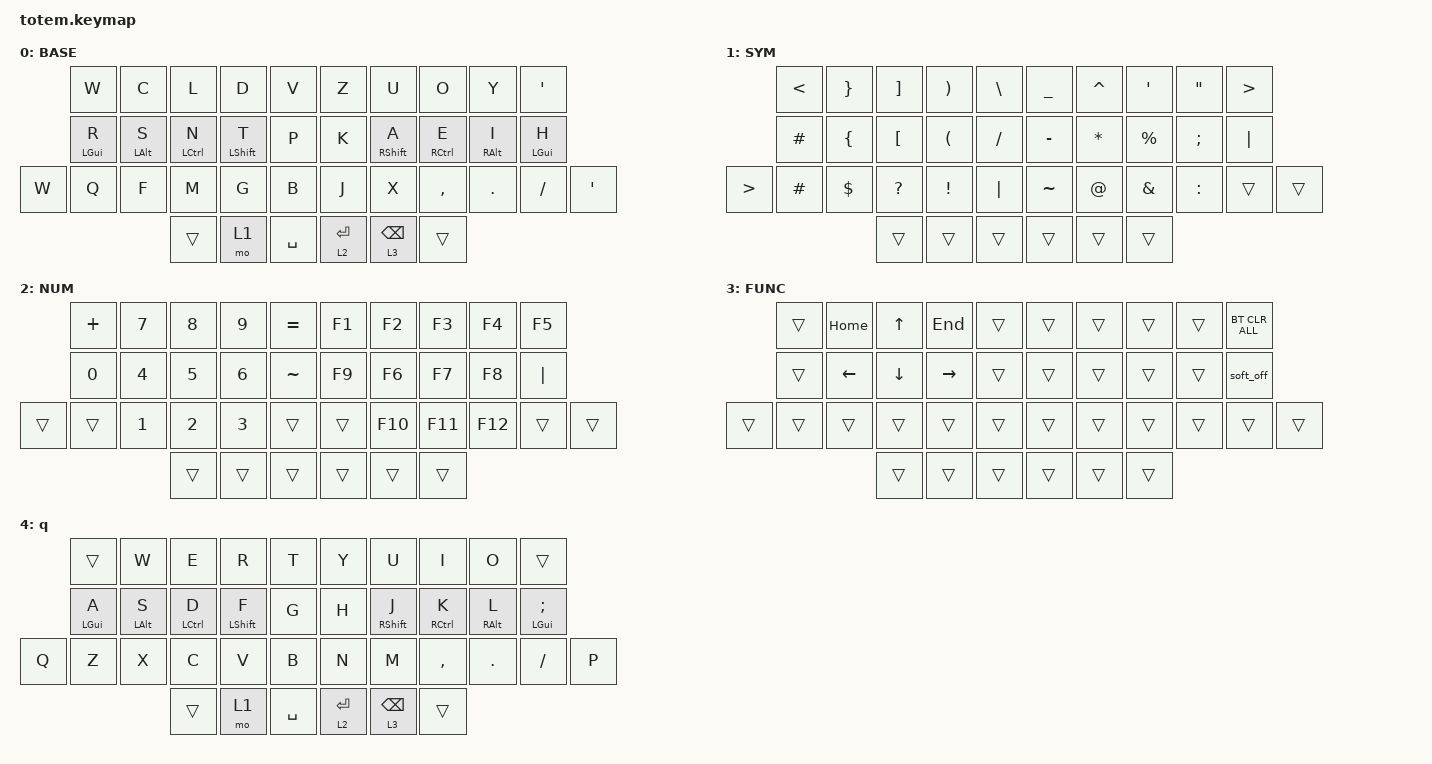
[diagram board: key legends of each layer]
//
//                                                        ▀▀▀▀▀     ▀▀▀▀▀          ▀▀█▀▀
//                                                        ▄▀▀▀▄  ▄  ▄▀▀▀▄  ▄  ▄▀▀▀▄  █  ▄▀▀▀▄
//                                                        █   █  █  █   █  █  █   █  █  █   █
//                                                         ▀▀▀   █   ▀▀▀   █   ▀▀▀   ▀   ▀▀▀
//                                                               █      ▄▄▄█▄▄▄    █   █  
//                                                               ▀      █  █  █     █▄█
//                                                             ▀▀▀▀▀    █  █  █      ▀
//                                                                      ▀  ▀  ▀
//

#include <behaviors/rgbled_widget.dtsi>
#include <behaviors.dtsi>
#include <dt-bindings/zmk/bt.h>
#include <dt-bindings/zmk/keys.h>

#define BASE 0
#define NAV  1
#define SYM  2
#define ADJ  3
#define TVP1 4
#define TVP2 5

&mt {
    quick-tap-ms = <100>;
    global-quick-tap;
    flavor = "tap-preferred";
    tapping-term-ms = <250>;
};

/ {
    combos {
        compatible = "zmk,combos";

        combo_v {
            timeout-ms = <50>;
            key-positions = <1 2>;
            bindings = <&kp V>;
        };

        combo_del {
            bindings = <&kp DELETE>;
            key-positions = <5 6>;
        };

        combo_ins {
            bindings = <&kp INS>;
            key-positions = <6 7>;
        };

        combo_bksp {
            bindings = <&kp BACKSPACE>;
            key-positions = <7 8>;
        };

        combo_pscn {
            bindings = <&kp PRINTSCREEN>;
            key-positions = <29 19>;
        };

        combo_esc {
            bindings = <&kp ESCAPE>;
            key-positions = <15 5>;
        };

        combo_unlock {
            bindings = <&studio_unlock>;
            key-positions = <0 9>;
        };

        layer_toggle {
            bindings = <&tog 4>;
            key-positions = <33 34 35 36>;
        };

        combo_q {
            bindings = <&kp Q>;
            key-positions = <2 3>;
            timeout-ms = <50>;
        };

        combo_z {
            bindings = <&kp Z>;
            key-positions = <22 23>;
            timeout-ms = <50>;
        };

        combo_tab {
            bindings = <&kp TAB>;
            key-positions = <0 1>;
            timeout-ms = <50>;
        };
    };

    macros {
        gif: gif {
            label = "giphy";
            compatible = "zmk,behavior-macro";
            #binding-cells = <0>;
            bindings =
                <&macro_press>,
                <&kp LSHFT>,
                <&macro_tap>,
                <&kp N2>,
                <&macro_release>,
                <&kp LSHFT>,
                <&macro_tap>,
                <&kp G &kp I &kp F>;
        };
    };

    keymap {
        compatible = "zmk,keymap";

        base_layer {
            label = "BASE";
            bindings = <
       &kp W           &kp C       &kp L        &kp D        &kp V        &kp Z        &kp U            &kp O        &kp Y       &kp APOSTROPHE
       &mt LEFT_GUI R  &mt LALT S  &mt LCTRL N  &mt LSHFT T  &kp P        &kp K        &mt RSHFT A      &mt RCTRL E  &mt RALT I  &mt LEFT_GUI H
&kp W  &kp Q           &kp F       &kp M        &kp G        &kp B        &kp J        &kp X            &kp COMMA    &kp PERIOD  &kp SLASH       &kp APOSTROPHE
                                   &trans       &mo 1        &kp SPACE    &lt 2 ENTER  &lt 3 BACKSPACE  &trans
            >;
        };

        sym_layer {
            bindings = <
                  &kp LESS_THAN  &kp RIGHT_BRACE  &kp RBKT      &kp RIGHT_PARENTHESIS  &kp BSLH     &kp UNDERSCORE  &kp CARET     &kp SQT        &kp DOUBLE_QUOTES  &kp GREATER_THAN
                  &kp HASH       &kp LEFT_BRACE   &kp LBKT      &kp LEFT_PARENTHESIS   &kp SLASH    &kp MINUS       &kp ASTERISK  &kp PERCENT    &kp SEMI           &kp PIPE
&kp GREATER_THAN  &kp POUND      &kp DOLLAR       &kp QUESTION  &kp EXCLAMATION        &kp PIPE     &kp TILDE       &kp AT_SIGN   &kp AMPERSAND  &kp COLON          &trans            &trans
                                                  &trans        &trans                 &trans       &trans          &trans        &trans
            >;

            label = "SYM";
        };

        num_layer {
            bindings = <
        &kp PLUS  &kp N7  &kp N8  &kp N9  &kp EQUAL    &kp F1  &kp F2   &kp F3   &kp F4   &kp F5
        &kp N0    &kp N4  &kp N5  &kp N6  &kp TILDE    &kp F9  &kp F6   &kp F7   &kp F8   &kp PIPE
&trans  &trans    &kp N1  &kp N2  &kp N3  &trans       &trans  &kp F10  &kp F11  &kp F12  &trans    &trans
                          &trans  &trans  &trans       &trans  &trans   &trans
            >;

            label = "NUM";
        };

        func_layer {
            bindings = <
        &trans  &kp HOME        &kp UP_ARROW  &kp END    &trans    &trans  &trans  &trans  &trans  &bt BT_CLR_ALL
        &trans  &kp LEFT_ARROW  &kp DOWN      &kp RIGHT  &trans    &trans  &trans  &trans  &trans  &soft_off
&trans  &trans  &trans          &trans        &trans     &trans    &trans  &trans  &trans  &trans  &trans          &trans
                                &trans        &trans     &trans    &trans  &trans  &trans
            >;

            label = "FUNC";
        };

        qwerty {
            label = "q";
            bindings = <
       &trans          &kp W       &kp E        &kp R        &kp T        &kp Y        &kp U            &kp I        &kp O       &trans
       &mt LEFT_GUI A  &mt LALT S  &mt LCTRL D  &mt LSHFT F  &kp G        &kp H        &mt RSHFT J      &mt RCTRL K  &mt RALT L  &mt LEFT_GUI SEMICOLON
&kp Q  &kp Z           &kp X       &kp C        &kp V        &kp B        &kp N        &kp M            &kp COMMA    &kp PERIOD  &kp SLASH               &kp P
                                   &trans       &mo 1        &kp SPACE    &lt 2 ENTER  &lt 3 BACKSPACE  &trans
            >;
        };
    };
};
